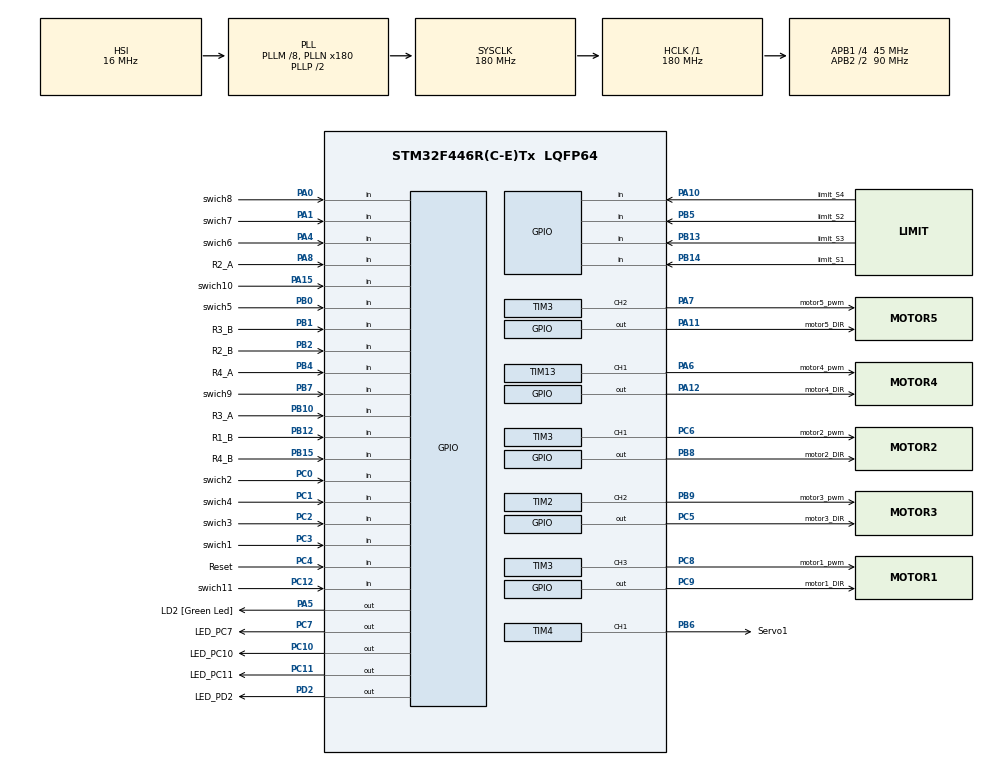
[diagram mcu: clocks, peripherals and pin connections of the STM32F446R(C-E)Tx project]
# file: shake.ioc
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Mcu.Family=STM32F4
Mcu.Name=STM32F446R(C-E)Tx
Mcu.Package=LQFP64
NVIC.PriorityGroup=NVIC_PRIORITYGROUP_0
NVIC.TIM4_IRQn=true\:0\:0\:false\:false\:true\:true
PA0-WKUP.GPIO_Label=swich8
PA0-WKUP.GPIO_PuPd=GPIO_PULLUP
PA0-WKUP.Signal=GPIO_Input
PA1.GPIO_Label=swich7
PA1.GPIO_PuPd=GPIO_PULLUP
PA1.Signal=GPIO_Input
PA10.GPIO_Label=limit_S4
PA10.GPIO_PuPd=GPIO_PULLUP
PA10.Signal=GPIO_Input
PA11.GPIO_Label=motor5_DIR
PA11.Signal=GPIO_Output
PA12.GPIO_Label=motor4_DIR
PA12.Signal=GPIO_Output
PA13.GPIO_Label=TMS
PA13.Signal=SYS_JTMS-SWDIO
PA14.GPIO_Label=TCK
PA14.Signal=SYS_JTCK-SWCLK
PA15.GPIO_Label=swich10
PA15.GPIO_PuPd=GPIO_PULLUP
PA15.Signal=GPIO_Input
PA2.GPIO_Label=USART_TX
PA2.Signal=USART2_TX
PA3.GPIO_Label=USART_RX
PA3.Signal=USART2_RX
PA4.GPIO_Label=swich6
PA4.GPIO_PuPd=GPIO_PULLUP
PA4.Signal=GPIO_Input
PA5.GPIO_Label=LD2 [Green Led]
PA5.Signal=GPIO_Output
PA6.GPIO_Label=motor4_pwm
PA6.Signal=S_TIM13_CH1
PA7.GPIO_Label=motor5_pwm
PA7.Signal=S_TIM3_CH2
PA8.GPIO_Label=R2_A
PA8.Signal=GPIO_Input
PA9.Signal=USB_OTG_FS_VBUS
PB0.GPIO_Label=swich5
PB0.GPIO_PuPd=GPIO_PULLUP
PB0.Signal=GPIO_Input
PB1.GPIO_Label=R3_B
PB1.Signal=GPIO_Input
PB10.GPIO_Label=R3_A
PB10.Signal=GPIO_Input
PB12.GPIO_Label=R1_B
PB12.Signal=GPIO_Input
PB13.GPIO_Label=limit_S3
PB13.GPIO_PuPd=GPIO_PULLUP
PB13.Signal=GPIO_Input
PB14.GPIO_Label=limit_S1
PB14.GPIO_PuPd=GPIO_PULLUP
PB14.Signal=GPIO_Input
PB15.GPIO_Label=R4_B
PB15.Signal=GPIO_Input
PB2.GPIO_Label=R2_B
PB2.Signal=GPIO_Input
PB3.GPIO_Label=SWO
PB3.Signal=SYS_JTDO-SWO
PB4.GPIO_Label=R4_A
PB4.Signal=GPIO_Input
PB5.GPIO_Label=limit_S2
PB5.GPIO_PuPd=GPIO_PULLUP
PB5.Signal=GPIO_Input
PB6.GPIO_Label=Servo1
PB6.Signal=S_TIM4_CH1
PB7.GPIO_Label=swich9
PB7.GPIO_PuPd=GPIO_PULLUP
PB7.Signal=GPIO_Input
PB8.GPIO_Label=motor2_DIR
PB8.Signal=GPIO_Output
PB9.GPIO_Label=motor3_pwm
PB9.Signal=S_TIM2_CH2
PC0.GPIO_Label=swich2
PC0.GPIO_PuPd=GPIO_PULLUP
PC0.Signal=GPIO_Input
PC1.GPIO_Label=swich4
PC1.GPIO_PuPd=GPIO_PULLUP
PC1.Signal=GPIO_Input
PC10.GPIO_Label=LED_PC10
PC10.Signal=GPIO_Output
PC11.GPIO_Label=LED_PC11
PC11.Signal=GPIO_Output
PC12.GPIO_Label=swich11
PC12.GPIO_PuPd=GPIO_PULLUP
PC12.Signal=GPIO_Input
PC14-OSC32_IN.Signal=RCC_OSC32_IN
PC15-OSC32_OUT.Signal=RCC_OSC32_OUT
PC2.GPIO_Label=swich3
PC2.GPIO_PuPd=GPIO_PULLUP
PC2.Signal=GPIO_Input
PC3.GPIO_Label=swich1
PC3.GPIO_PuPd=GPIO_PULLUP
PC3.Signal=GPIO_Input
PC4.GPIO_Label=Reset
PC4.GPIO_PuPd=GPIO_PULLUP
PC4.Signal=GPIO_Input
PC5.GPIO_Label=motor3_DIR
PC5.Signal=GPIO_Output
PC6.GPIO_Label=motor2_pwm
PC6.Signal=S_TIM3_CH1
PC7.GPIO_Label=LED_PC7
PC7.Signal=GPIO_Output
PC8.GPIO_Label=motor1_pwm
PC8.Signal=S_TIM3_CH3
PC9.GPIO_Label=motor1_DIR
PC9.Signal=GPIO_Output
PD2.GPIO_Label=LED_PD2
PD2.Signal=GPIO_Output
PH0-OSC_IN.Signal=RCC_OSC_IN
PH1-OSC_OUT.Signal=RCC_OSC_OUT
ProjectManager.HeapSize=0x200
ProjectManager.StackSize=0x400
ProjectManager.TargetToolchain=Other Toolchains (GPDSC)
RCC.AHBFreq_Value=180000000
RCC.APB1CLKDivider=RCC_HCLK_DIV4
RCC.APB1Freq_Value=45000000
RCC.APB1TimFreq_Value=90000000
RCC.APB2CLKDivider=RCC_HCLK_DIV2
RCC.APB2Freq_Value=90000000
RCC.APB2TimFreq_Value=180000000
RCC.CortexFreq_Value=180000000
RCC.FLatency-AdvancedSettings=FLASH_LATENCY_5
RCC.HCLKFreq_Value=180000000
RCC.HSE_VALUE=8000000
RCC.HSI_VALUE=16000000
RCC.LSE_VALUE=32768
RCC.PLLM=8
RCC.PLLN=180
RCC.SYSCLKFreq_VALUE=180000000
RCC.SYSCLKSource=RCC_SYSCLKSOURCE_PLLCLK
RCC.USBFreq_Value=180000000
RCC.VCOOutputFreq_Value=360000000
SH.S_TIM13_CH1.0=TIM13_CH1,PWM Generation1 CH1
SH.S_TIM2_CH2.0=TIM2_CH2,PWM Generation2 CH2
SH.S_TIM3_CH1.0=TIM3_CH1,PWM Generation1 CH1
SH.S_TIM3_CH2.0=TIM3_CH2,PWM Generation2 CH2
SH.S_TIM3_CH3.0=TIM3_CH3,PWM Generation3 CH3
SH.S_TIM4_CH1.0=TIM4_CH1,PWM Generation1 CH1
TIM13.Channel=TIM_CHANNEL_1
TIM13.Period=1024
TIM13.Prescaler=6
TIM2.Channel-PWM\ Generation2\ CH2=TIM_CHANNEL_2
TIM2.Period=1024
TIM2.Prescaler=6
TIM3.Channel-PWM\ Generation1\ CH1=TIM_CHANNEL_1
TIM3.Channel-PWM\ Generation2\ CH2=TIM_CHANNEL_2
TIM3.Channel-PWM\ Generation3\ CH3=TIM_CHANNEL_3
TIM3.Period=1024
TIM3.Prescaler=6
TIM4.Channel-PWM\ Generation1\ CH1=TIM_CHANNEL_1
TIM4.Period=10
TIM4.Prescaler=90
VP_TIM13_VS_ClockSourceINT.Mode=Enable_Timer
board=NUCLEO-F446RE

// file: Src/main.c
/**
  ******************************************************************************
  * @file           : main.c
  * @brief          : Main program body
  ******************************************************************************
  ** This notice applies to any and all portions of this file
  * that are not between comment pairs USER CODE BEGIN and
  * USER CODE END. Other portions of this file, whether
  * inserted by the user or by software development tools
  * are owned by their respective copyright owners.
  *
  * COPYRIGHT(c) 2018 STMicroelectronics
  *
  * Redistribution and use in source and binary forms, with or without modification,
  * are permitted provided that the following conditions are met:
  *   1. Redistributions of source code must retain the above copyright notice,
  *      this list of conditions and the following disclaimer.
  *   2. Redistributions in binary form must reproduce the above copyright notice,
  *      this list of conditions and the following disclaimer in the documentation
  *      and/or other materials provided with the distribution.
  *   3. Neither the name of STMicroelectronics nor the names of its contributors
  *      may be used to endorse or promote products derived from this software
  *      without specific prior written permission.
  *
  * THIS SOFTWARE IS PROVIDED BY THE COPYRIGHT HOLDERS AND CONTRIBUTORS "AS IS"
  * AND ANY EXPRESS OR IMPLIED WARRANTIES, INCLUDING, BUT NOT LIMITED TO, THE
  * IMPLIED WARRANTIES OF MERCHANTABILITY AND FITNESS FOR A PARTICULAR PURPOSE ARE
  * DISCLAIMED. IN NO EVENT SHALL THE COPYRIGHT HOLDER OR CONTRIBUTORS BE LIABLE
  * FOR ANY DIRECT, INDIRECT, INCIDENTAL, SPECIAL, EXEMPLARY, OR CONSEQUENTIAL
  * DAMAGES (INCLUDING, BUT NOT LIMITED TO, PROCUREMENT OF SUBSTITUTE GOODS OR
  * SERVICES; LOSS OF USE, DATA, OR PROFITS; OR BUSINESS INTERRUPTION) HOWEVER
  * CAUSED AND ON ANY THEORY OF LIABILITY, WHETHER IN CONTRACT, STRICT LIABILITY,
  * OR TORT (INCLUDING NEGLIGENCE OR OTHERWISE) ARISING IN ANY WAY OUT OF THE USE
  * OF THIS SOFTWARE, EVEN IF ADVISED OF THE POSSIBILITY OF SUCH DAMAGE.
  *
  ******************************************************************************
  */
#include "main.h"
#include "stm32f4xx_hal.h"

/* USER CODE BEGIN Includes */
#include "CtoCpp.h"
#include "CppMain.h"
#include "ServoC.h"
/* USER CODE END Includes */

TIM_HandleTypeDef htim2;
TIM_HandleTypeDef htim3;
TIM_HandleTypeDef htim4;
TIM_HandleTypeDef htim13;

/* USER CODE BEGIN PV */
/* Private variables ---------------------------------------------------------*/
/* USER CODE END PV */

void SystemClock_Config(void);
static void MX_GPIO_Init(void);
static void MX_TIM2_Init(void);
static void MX_TIM3_Init(void);
static void MX_TIM4_Init(void);
static void MX_TIM13_Init(void);
void HAL_TIM_MspPostInit(TIM_HandleTypeDef *htim);

/* USER CODE BEGIN PFP */
/* Private function prototypes -----------------------------------------------*/

/* USER CODE END PFP */

/* USER CODE BEGIN 0 */
int now = 0;
int cnt = 0;
void HAL_TIM_PeriodElapsedCallback(TIM_HandleTypeDef *htim)
{
	if (htim->Instance == TIM4)
	{
		cnt++;
		if (now == 0)
		{
			if (cnt >2000)
			{
				cnt = 0;
				htim->Instance->CCR1 = 10;
				now = 1;
			}
		}
		else if (now == 1)
		{
			if(cnt>Servo1_Pow)
			{
		//		if (Servo1_Pow == 70)Servo1_Pow = 50;
			//	Servo1_Pow++;
				cnt = 0;
				htim->Instance->CCR1 = 0;
				now = 0;
			}
		}
	}
}
/* USER CODE END 0 */

int main(void)
{

  /* MCU Configuration----------------------------------------------------------*/

  /* Reset of all peripherals, Initializes the Flash interface and the Systick. */
  HAL_Init();

  /* Configure the system clock */
  SystemClock_Config();

  /* Initialize all configured peripherals */
  MX_GPIO_Init();
  MX_TIM2_Init();
  MX_TIM3_Init();
  MX_TIM4_Init();
  MX_TIM13_Init();
  /* USER CODE BEGIN 2 */
	ControlerPinsArray[ControlerPins_IsServo] = CtoCppGPIOInit(swich1_GPIO_Port, swich1_Pin);

	ControlerPinsArray[ControlerPins_Speed4] = CtoCppGPIOInit(swich2_GPIO_Port, swich2_Pin);
	ControlerPinsArray[ControlerPins_Speed2] = CtoCppGPIOInit(swich3_GPIO_Port, swich3_Pin);
	ControlerPinsArray[ControlerPins_Speed1] = CtoCppGPIOInit(swich4_GPIO_Port, swich4_Pin);

	ControlerPinsArray[ControlerPins_Up] = CtoCppGPIOInit(swich5_GPIO_Port, swich5_Pin);
	ControlerPinsArray[ControlerPins_Down] = CtoCppGPIOInit(swich7_GPIO_Port, swich7_Pin);
	ControlerPinsArray[ControlerPins_Left] = CtoCppGPIOInit(swich11_GPIO_Port, swich11_Pin);
	ControlerPinsArray[ControlerPins_Right] = CtoCppGPIOInit(swich6_GPIO_Port, swich6_Pin);

	ControlerPinsArray[ControlerPins_Hi] = CtoCppGPIOInit(swich10_GPIO_Port, swich10_Pin);
	ControlerPinsArray[ControlerPins_Lo] = CtoCppGPIOInit(swich9_GPIO_Port, swich9_Pin);

	MoterDirPinsArray[MoterDirPins_Dir1] = CtoCppGPIOInit(motor1_DIR_GPIO_Port, motor1_DIR_Pin);
	MoterDirPinsArray[MoterDirPins_Dir2] = CtoCppGPIOInit(motor2_DIR_GPIO_Port, motor2_DIR_Pin);
	MoterDirPinsArray[MoterDirPins_Dir3] = CtoCppGPIOInit(motor3_DIR_GPIO_Port, motor3_DIR_Pin);

	MoterPwmPinsArray[MoterPwmPins_Pwm1] = CtoCppPwmGPIOInit(&htim3, TIM_CHANNEL_3);
	MoterPwmPinsArray[MoterPwmPins_Pwm2] = CtoCppPwmGPIOInit(&htim3, TIM_CHANNEL_1);
	MoterPwmPinsArray[MoterPwmPins_Pwm3] = CtoCppPwmGPIOInit(&htim2, TIM_CHANNEL_2);

	CppSetUp();
	HAL_TIM_Base_Start_IT(&htim4);

	HAL_TIM_PWM_Start(&htim4, TIM_CHANNEL_1);
  /* USER CODE END 2 */

  /* Infinite loop */
  while (1)
  {

  /* USER CODE BEGIN 3 */
	  CppLoop();
  }
  /* USER CODE END 3 */

}

void SystemClock_Config(void)
{

  RCC_OscInitTypeDef RCC_OscInitStruct;
  RCC_ClkInitTypeDef RCC_ClkInitStruct;

    /**Configure the main internal regulator output voltage
    */
  __HAL_RCC_PWR_CLK_ENABLE();

  __HAL_PWR_VOLTAGESCALING_CONFIG(PWR_REGULATOR_VOLTAGE_SCALE1);

    /**Initializes the CPU, AHB and APB busses clocks
    */
  RCC_OscInitStruct.OscillatorType = RCC_OSCILLATORTYPE_HSI;
  RCC_OscInitStruct.HSIState = RCC_HSI_ON;
  RCC_OscInitStruct.HSICalibrationValue = 16;
  RCC_OscInitStruct.PLL.PLLState = RCC_PLL_ON;
  RCC_OscInitStruct.PLL.PLLSource = RCC_PLLSOURCE_HSI;
  RCC_OscInitStruct.PLL.PLLM = 8;
  RCC_OscInitStruct.PLL.PLLN = 180;
  RCC_OscInitStruct.PLL.PLLP = RCC_PLLP_DIV2;
  RCC_OscInitStruct.PLL.PLLQ = 2;
  RCC_OscInitStruct.PLL.PLLR = 2;
  if (HAL_RCC_OscConfig(&RCC_OscInitStruct) != HAL_OK)
  {
    _Error_Handler(__FILE__, __LINE__);
  }

    /**Activate the Over-Drive mode
    */
  if (HAL_PWREx_EnableOverDrive() != HAL_OK)
  {
    _Error_Handler(__FILE__, __LINE__);
  }

    /**Initializes the CPU, AHB and APB busses clocks
    */
  RCC_ClkInitStruct.ClockType = RCC_CLOCKTYPE_HCLK|RCC_CLOCKTYPE_SYSCLK
                              |RCC_CLOCKTYPE_PCLK1|RCC_CLOCKTYPE_PCLK2;
  RCC_ClkInitStruct.SYSCLKSource = RCC_SYSCLKSOURCE_PLLCLK;
  RCC_ClkInitStruct.AHBCLKDivider = RCC_SYSCLK_DIV1;
  RCC_ClkInitStruct.APB1CLKDivider = RCC_HCLK_DIV4;
  RCC_ClkInitStruct.APB2CLKDivider = RCC_HCLK_DIV2;

  if (HAL_RCC_ClockConfig(&RCC_ClkInitStruct, FLASH_LATENCY_5) != HAL_OK)
  {
    _Error_Handler(__FILE__, __LINE__);
  }

    /**Configure the Systick interrupt time
    */
  HAL_SYSTICK_Config(HAL_RCC_GetHCLKFreq()/1000);

    /**Configure the Systick
    */
  HAL_SYSTICK_CLKSourceConfig(SYSTICK_CLKSOURCE_HCLK);

  /* SysTick_IRQn interrupt configuration */
  HAL_NVIC_SetPriority(SysTick_IRQn, 0, 0);
}

/* TIM2 init function */
static void MX_TIM2_Init(void)
{

  TIM_MasterConfigTypeDef sMasterConfig;
  TIM_OC_InitTypeDef sConfigOC;

  htim2.Instance = TIM2;
  htim2.Init.Prescaler = 6;
  htim2.Init.CounterMode = TIM_COUNTERMODE_UP;
  htim2.Init.Period = 1024;
  htim2.Init.ClockDivision = TIM_CLOCKDIVISION_DIV1;
  if (HAL_TIM_PWM_Init(&htim2) != HAL_OK)
  {
    _Error_Handler(__FILE__, __LINE__);
  }

  sMasterConfig.MasterOutputTrigger = TIM_TRGO_RESET;
  sMasterConfig.MasterSlaveMode = TIM_MASTERSLAVEMODE_DISABLE;
  if (HAL_TIMEx_MasterConfigSynchronization(&htim2, &sMasterConfig) != HAL_OK)
  {
    _Error_Handler(__FILE__, __LINE__);
  }

  sConfigOC.OCMode = TIM_OCMODE_PWM1;
  sConfigOC.Pulse = 0;
  sConfigOC.OCPolarity = TIM_OCPOLARITY_HIGH;
  sConfigOC.OCFastMode = TIM_OCFAST_DISABLE;
  if (HAL_TIM_PWM_ConfigChannel(&htim2, &sConfigOC, TIM_CHANNEL_2) != HAL_OK)
  {
    _Error_Handler(__FILE__, __LINE__);
  }

  HAL_TIM_MspPostInit(&htim2);

}

/* TIM3 init function */
static void MX_TIM3_Init(void)
{

  TIM_MasterConfigTypeDef sMasterConfig;
  TIM_OC_InitTypeDef sConfigOC;

  htim3.Instance = TIM3;
  htim3.Init.Prescaler = 6;
  htim3.Init.CounterMode = TIM_COUNTERMODE_UP;
  htim3.Init.Period = 1024;
  htim3.Init.ClockDivision = TIM_CLOCKDIVISION_DIV1;
  if (HAL_TIM_PWM_Init(&htim3) != HAL_OK)
  {
    _Error_Handler(__FILE__, __LINE__);
  }

  sMasterConfig.MasterOutputTrigger = TIM_TRGO_RESET;
  sMasterConfig.MasterSlaveMode = TIM_MASTERSLAVEMODE_DISABLE;
  if (HAL_TIMEx_MasterConfigSynchronization(&htim3, &sMasterConfig) != HAL_OK)
  {
    _Error_Handler(__FILE__, __LINE__);
  }

  sConfigOC.OCMode = TIM_OCMODE_PWM1;
  sConfigOC.Pulse = 0;
  sConfigOC.OCPolarity = TIM_OCPOLARITY_HIGH;
  sConfigOC.OCFastMode = TIM_OCFAST_DISABLE;
  if (HAL_TIM_PWM_ConfigChannel(&htim3, &sConfigOC, TIM_CHANNEL_1) != HAL_OK)
  {
    _Error_Handler(__FILE__, __LINE__);
  }

  if (HAL_TIM_PWM_ConfigChannel(&htim3, &sConfigOC, TIM_CHANNEL_2) != HAL_OK)
  {
    _Error_Handler(__FILE__, __LINE__);
  }

  if (HAL_TIM_PWM_ConfigChannel(&htim3, &sConfigOC, TIM_CHANNEL_3) != HAL_OK)
  {
    _Error_Handler(__FILE__, __LINE__);
  }

  HAL_TIM_MspPostInit(&htim3);

}

/* TIM4 init function */
static void MX_TIM4_Init(void)
{

  TIM_MasterConfigTypeDef sMasterConfig;
  TIM_OC_InitTypeDef sConfigOC;

  htim4.Instance = TIM4;
  htim4.Init.Prescaler = 90;
  htim4.Init.CounterMode = TIM_COUNTERMODE_UP;
  htim4.Init.Period = 10;
  htim4.Init.ClockDivision = TIM_CLOCKDIVISION_DIV1;
  if (HAL_TIM_PWM_Init(&htim4) != HAL_OK)
  {
    _Error_Handler(__FILE__, __LINE__);
  }

  sMasterConfig.MasterOutputTrigger = TIM_TRGO_RESET;
  sMasterConfig.MasterSlaveMode = TIM_MASTERSLAVEMODE_DISABLE;
  if (HAL_TIMEx_MasterConfigSynchronization(&htim4, &sMasterConfig) != HAL_OK)
  {
    _Error_Handler(__FILE__, __LINE__);
  }

  sConfigOC.OCMode = TIM_OCMODE_PWM1;
  sConfigOC.Pulse = 0;
  sConfigOC.OCPolarity = TIM_OCPOLARITY_HIGH;
  sConfigOC.OCFastMode = TIM_OCFAST_DISABLE;
  if (HAL_TIM_PWM_ConfigChannel(&htim4, &sConfigOC, TIM_CHANNEL_1) != HAL_OK)
  {
    _Error_Handler(__FILE__, __LINE__);
  }

  HAL_TIM_MspPostInit(&htim4);

}

/* TIM13 init function */
static void MX_TIM13_Init(void)
{

  TIM_OC_InitTypeDef sConfigOC;

  htim13.Instance = TIM13;
  htim13.Init.Prescaler = 6;
  htim13.Init.CounterMode = TIM_COUNTERMODE_UP;
  htim13.Init.Period = 1024;
  htim13.Init.ClockDivision = TIM_CLOCKDIVISION_DIV1;
  if (HAL_TIM_Base_Init(&htim13) != HAL_OK)
  {
    _Error_Handler(__FILE__, __LINE__);
  }

  if (HAL_TIM_PWM_Init(&htim13) != HAL_OK)
  {
    _Error_Handler(__FILE__, __LINE__);
  }

  sConfigOC.OCMode = TIM_OCMODE_PWM1;
  sConfigOC.Pulse = 0;
  sConfigOC.OCPolarity = TIM_OCPOLARITY_HIGH;
  sConfigOC.OCFastMode = TIM_OCFAST_DISABLE;
  if (HAL_TIM_PWM_ConfigChannel(&htim13, &sConfigOC, TIM_CHANNEL_1) != HAL_OK)
  {
    _Error_Handler(__FILE__, __LINE__);
  }

  HAL_TIM_MspPostInit(&htim13);

}

/** Configure pins as
        * Analog
        * Input
        * Output
        * EVENT_OUT
        * EXTI
     PA2   ------> USART2_TX
     PA3   ------> USART2_RX
     PA9   ------> USB_OTG_FS_VBUS
*/
static void MX_GPIO_Init(void)
{

  GPIO_InitTypeDef GPIO_InitStruct;

  /* GPIO Ports Clock Enable */
  __HAL_RCC_GPIOC_CLK_ENABLE();
  __HAL_RCC_GPIOH_CLK_ENABLE();
  __HAL_RCC_GPIOA_CLK_ENABLE();
  __HAL_RCC_GPIOB_CLK_ENABLE();
  __HAL_RCC_GPIOD_CLK_ENABLE();

  /*Configure GPIO pin Output Level */
  HAL_GPIO_WritePin(GPIOA, LD2_Pin|motor5_DIR_Pin|motor4_DIR_Pin, GPIO_PIN_RESET);

  /*Configure GPIO pin Output Level */
  HAL_GPIO_WritePin(GPIOC, motor3_DIR_Pin|LED_PC7_Pin|motor1_DIR_Pin|LED_PC10_Pin
                          |LED_PC11_Pin, GPIO_PIN_RESET);

  /*Configure GPIO pin Output Level */
  HAL_GPIO_WritePin(LED_PD2_GPIO_Port, LED_PD2_Pin, GPIO_PIN_RESET);

  /*Configure GPIO pin Output Level */
  HAL_GPIO_WritePin(motor2_DIR_GPIO_Port, motor2_DIR_Pin, GPIO_PIN_RESET);

  /*Configure GPIO pins : swich2_Pin swich4_Pin swich3_Pin swich1_Pin
                           Reset_Pin swich11_Pin */
  GPIO_InitStruct.Pin = swich2_Pin|swich4_Pin|swich3_Pin|swich1_Pin
                          |Reset_Pin|swich11_Pin;
  GPIO_InitStruct.Mode = GPIO_MODE_INPUT;
  GPIO_InitStruct.Pull = GPIO_PULLUP;
  HAL_GPIO_Init(GPIOC, &GPIO_InitStruct);

  /*Configure GPIO pins : swich8_Pin swich7_Pin swich6_Pin limit_S4_Pin
                           swich10_Pin */
  GPIO_InitStruct.Pin = swich8_Pin|swich7_Pin|swich6_Pin|limit_S4_Pin
                          |swich10_Pin;
  GPIO_InitStruct.Mode = GPIO_MODE_INPUT;
  GPIO_InitStruct.Pull = GPIO_PULLUP;
  HAL_GPIO_Init(GPIOA, &GPIO_InitStruct);

  /*Configure GPIO pins : USART_TX_Pin USART_RX_Pin */
  GPIO_InitStruct.Pin = USART_TX_Pin|USART_RX_Pin;
  GPIO_InitStruct.Mode = GPIO_MODE_AF_PP;
  GPIO_InitStruct.Pull = GPIO_NOPULL;
  GPIO_InitStruct.Speed = GPIO_SPEED_FREQ_VERY_HIGH;
  GPIO_InitStruct.Alternate = GPIO_AF7_USART2;
  HAL_GPIO_Init(GPIOA, &GPIO_InitStruct);

  /*Configure GPIO pins : LD2_Pin motor5_DIR_Pin motor4_DIR_Pin */
  GPIO_InitStruct.Pin = LD2_Pin|motor5_DIR_Pin|motor4_DIR_Pin;
  GPIO_InitStruct.Mode = GPIO_MODE_OUTPUT_PP;
  GPIO_InitStruct.Pull = GPIO_NOPULL;
  GPIO_InitStruct.Speed = GPIO_SPEED_FREQ_LOW;
  HAL_GPIO_Init(GPIOA, &GPIO_InitStruct);

  /*Configure GPIO pins : motor3_DIR_Pin LED_PC7_Pin motor1_DIR_Pin LED_PC10_Pin
                           LED_PC11_Pin */
  GPIO_InitStruct.Pin = motor3_DIR_Pin|LED_PC7_Pin|motor1_DIR_Pin|LED_PC10_Pin
                          |LED_PC11_Pin;
  GPIO_InitStruct.Mode = GPIO_MODE_OUTPUT_PP;
  GPIO_InitStruct.Pull = GPIO_NOPULL;
  GPIO_InitStruct.Speed = GPIO_SPEED_FREQ_LOW;
  HAL_GPIO_Init(GPIOC, &GPIO_InitStruct);

  /*Configure GPIO pins : swich5_Pin limit_S3_Pin limit_S1_Pin limit_S2_Pin
                           swich9_Pin */
  GPIO_InitStruct.Pin = swich5_Pin|limit_S3_Pin|limit_S1_Pin|limit_S2_Pin
                          |swich9_Pin;
  GPIO_InitStruct.Mode = GPIO_MODE_INPUT;
  GPIO_InitStruct.Pull = GPIO_PULLUP;
  HAL_GPIO_Init(GPIOB, &GPIO_InitStruct);

  /*Configure GPIO pins : R3_B_Pin R2_B_Pin R3_A_Pin R1_B_Pin
                           R4_B_Pin R4_A_Pin */
  GPIO_InitStruct.Pin = R3_B_Pin|R2_B_Pin|R3_A_Pin|R1_B_Pin
                          |R4_B_Pin|R4_A_Pin;
  GPIO_InitStruct.Mode = GPIO_MODE_INPUT;
  GPIO_InitStruct.Pull = GPIO_NOPULL;
  HAL_GPIO_Init(GPIOB, &GPIO_InitStruct);

  /*Configure GPIO pin : R2_A_Pin */
  GPIO_InitStruct.Pin = R2_A_Pin;
  GPIO_InitStruct.Mode = GPIO_MODE_INPUT;
  GPIO_InitStruct.Pull = GPIO_NOPULL;
  HAL_GPIO_Init(R2_A_GPIO_Port, &GPIO_InitStruct);

  /*Configure GPIO pin : PA9 */
  GPIO_InitStruct.Pin = GPIO_PIN_9;
  GPIO_InitStruct.Mode = GPIO_MODE_INPUT;
  GPIO_InitStruct.Pull = GPIO_NOPULL;
  HAL_GPIO_Init(GPIOA, &GPIO_InitStruct);

  /*Configure GPIO pin : LED_PD2_Pin */
  GPIO_InitStruct.Pin = LED_PD2_Pin;
  GPIO_InitStruct.Mode = GPIO_MODE_OUTPUT_PP;
  GPIO_InitStruct.Pull = GPIO_NOPULL;
  GPIO_InitStruct.Speed = GPIO_SPEED_FREQ_LOW;
  HAL_GPIO_Init(LED_PD2_GPIO_Port, &GPIO_InitStruct);

  /*Configure GPIO pin : motor2_DIR_Pin */
  GPIO_InitStruct.Pin = motor2_DIR_Pin;
  GPIO_InitStruct.Mode = GPIO_MODE_OUTPUT_PP;
  GPIO_InitStruct.Pull = GPIO_NOPULL;
  GPIO_InitStruct.Speed = GPIO_SPEED_FREQ_LOW;
  HAL_GPIO_Init(motor2_DIR_GPIO_Port, &GPIO_InitStruct);

}

void _Error_Handler(char *file, int line)
{
  while(1)
  {
  }
}

/************************ (C) COPYRIGHT STMicroelectronics *****END OF FILE****/
